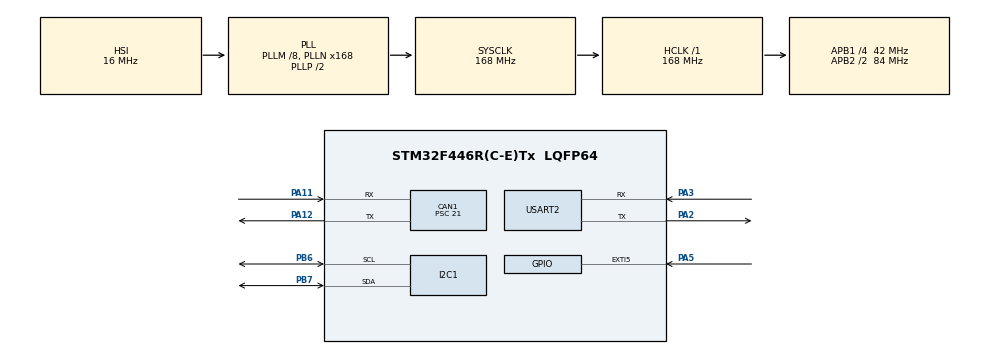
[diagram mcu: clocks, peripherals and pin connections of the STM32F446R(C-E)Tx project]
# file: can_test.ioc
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CAN1.BS1=CAN_BS1_14TQ
CAN1.BS2=CAN_BS2_5TQ
CAN1.CalculateBaudRate=100000
CAN1.CalculateTimeBit=10000
CAN1.CalculateTimeQuantum=500.0
CAN1.Prescaler=21
Dma.I2C1_RX.0.Direction=DMA_PERIPH_TO_MEMORY
Dma.I2C1_RX.0.FIFOMode=DMA_FIFOMODE_DISABLE
Dma.I2C1_RX.0.Instance=DMA1_Stream0
Dma.I2C1_RX.0.MemDataAlignment=DMA_MDATAALIGN_BYTE
Dma.I2C1_RX.0.MemInc=DMA_MINC_ENABLE
Dma.I2C1_RX.0.Mode=DMA_NORMAL
Dma.I2C1_RX.0.PeriphDataAlignment=DMA_PDATAALIGN_BYTE
Dma.I2C1_RX.0.PeriphInc=DMA_PINC_DISABLE
Dma.I2C1_RX.0.Priority=DMA_PRIORITY_LOW
Dma.I2C1_TX.1.Direction=DMA_MEMORY_TO_PERIPH
Dma.I2C1_TX.1.FIFOMode=DMA_FIFOMODE_DISABLE
Dma.I2C1_TX.1.Instance=DMA1_Stream6
Dma.I2C1_TX.1.MemDataAlignment=DMA_MDATAALIGN_BYTE
Dma.I2C1_TX.1.MemInc=DMA_MINC_ENABLE
Dma.I2C1_TX.1.Mode=DMA_NORMAL
Dma.I2C1_TX.1.PeriphDataAlignment=DMA_PDATAALIGN_BYTE
Dma.I2C1_TX.1.PeriphInc=DMA_PINC_DISABLE
Dma.I2C1_TX.1.Priority=DMA_PRIORITY_LOW
Dma.Request0=I2C1_RX
Dma.Request1=I2C1_TX
I2C1.I2C_Mode=I2C_Fast
Mcu.Family=STM32F4
Mcu.Name=STM32F446R(C-E)Tx
Mcu.Package=LQFP64
NVIC.CAN1_RX0_IRQn=true\:0\:0\:false\:false\:true\:true\:true\:true
NVIC.CAN1_TX_IRQn=true\:0\:0\:false\:false\:true\:true\:true\:true
NVIC.DMA1_Stream0_IRQn=true\:0\:0\:false\:false\:true\:false\:true\:true
NVIC.DMA1_Stream6_IRQn=true\:0\:0\:false\:false\:true\:false\:true\:true
NVIC.EXTI9_5_IRQn=true\:0\:0\:false\:false\:true\:true\:true\:true
NVIC.I2C1_ER_IRQn=true\:0\:0\:false\:false\:true\:true\:true\:true
NVIC.I2C1_EV_IRQn=true\:0\:0\:false\:false\:true\:true\:true\:true
NVIC.PriorityGroup=NVIC_PRIORITYGROUP_4
PA11.Mode=CAN_Activate
PA11.Signal=CAN1_RX
PA12.Mode=CAN_Activate
PA12.Signal=CAN1_TX
PA2.Mode=Asynchronous
PA2.Signal=USART2_TX
PA3.Mode=Asynchronous
PA3.Signal=USART2_RX
PA5.Signal=GPXTI5
PB6.Mode=I2C
PB6.Signal=I2C1_SCL
PB7.Mode=I2C
PB7.Signal=I2C1_SDA
PH0-OSC_IN.Mode=HSE-External-Oscillator
PH0-OSC_IN.Signal=RCC_OSC_IN
PH1-OSC_OUT.Mode=HSE-External-Oscillator
PH1-OSC_OUT.Signal=RCC_OSC_OUT
ProjectManager.HeapSize=0x200
ProjectManager.StackSize=0x400
ProjectManager.TargetToolchain=STM32CubeIDE
RCC.AHBFreq_Value=168000000
RCC.APB1CLKDivider=RCC_HCLK_DIV4
RCC.APB1Freq_Value=42000000
RCC.APB1TimFreq_Value=84000000
RCC.APB2CLKDivider=RCC_HCLK_DIV2
RCC.APB2Freq_Value=84000000
RCC.APB2TimFreq_Value=168000000
RCC.CortexFreq_Value=168000000
RCC.HCLKFreq_Value=168000000
RCC.HSE_VALUE=8000000
RCC.PLLM=8
RCC.PLLN=168
RCC.SYSCLKFreq_VALUE=168000000
RCC.SYSCLKSource=RCC_SYSCLKSOURCE_PLLCLK
RCC.USBFreq_Value=168000000
RCC.VCOOutputFreq_Value=336000000
USART2.VirtualMode=VM_ASYNC
board=custom

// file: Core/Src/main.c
/* USER CODE BEGIN Header */
/**
  ******************************************************************************
  * @file           : main.c
  * @brief          : Main program body
  ******************************************************************************
  * @attention
  *
  * Copyright (c) 2022 STMicroelectronics.
  * All rights reserved.
  *
  * This software is licensed under terms that can be found in the LICENSE file
  * in the root directory of this software component.
  * If no LICENSE file comes with this software, it is provided AS-IS.
  *
  ******************************************************************************
  */
/* USER CODE END Header */
#include "main.h"

/* USER CODE BEGIN Includes */
#include "VL53L1X_api.h"
/* USER CODE END Includes */

CAN_HandleTypeDef hcan1;

I2C_HandleTypeDef hi2c1;
DMA_HandleTypeDef hdma_i2c1_rx;
DMA_HandleTypeDef hdma_i2c1_tx;

UART_HandleTypeDef huart2;

/* USER CODE BEGIN PV */
CAN_TxHeaderTypeDef   TxHeader;
CAN_RxHeaderTypeDef   RxHeader;
uint8_t               TxData[8];
uint8_t               RxData[8];
uint32_t              TxMailbox;
CAN_FilterTypeDef     sFilterConfig;

uint16_t dev = 0x52;
uint16_t dis = 0;
/* USER CODE END PV */

void SystemClock_Config(void);
static void MX_GPIO_Init(void);
static void MX_DMA_Init(void);
static void MX_CAN1_Init(void);
static void MX_I2C1_Init(void);
static void MX_USART2_UART_Init(void);
/* USER CODE BEGIN PFP */
void CanSendMssg(uint8_t len, uint8_t data[len]);
void CanRecvMssg(void);
void HAL_CAN_RxFifo1MsgPendingCallback(CAN_HandleTypeDef *hcan);
/* USER CODE END PFP */

int main(void)
{

  /* MCU Configuration--------------------------------------------------------*/

  /* Reset of all peripherals, Initializes the Flash interface and the Systick. */
  HAL_Init();

  /* Configure the system clock */
  SystemClock_Config();

  /* Initialize all configured peripherals */
  MX_GPIO_Init();
  MX_DMA_Init();
  MX_CAN1_Init();
  MX_I2C1_Init();
  MX_USART2_UART_Init();
  /* USER CODE BEGIN 2 */
  uint8_t sensorState = 0;
  uint8_t boot[6] = {66, 79, 79, 84, 10, 0};
  while(sensorState==0){
		VL53L1X_BootState(dev, &sensorState);
		HAL_UART_Transmit(&huart2, boot, 6, 10);
		HAL_Delay(2);
  }

  VL53L1X_SensorInit(dev);
  VL53L1X_StartRanging(dev);
  /* USER CODE END 2 */

  /* Infinite loop */
  /* USER CODE BEGIN WHILE */
  uint8_t dataReady = 0;
  while (1)
  {
	  while (dataReady == 0){
		  VL53L1X_CheckForDataReady(dev, &dataReady);
		  HAL_Delay(2);
	  }
	  VL53L1X_GetDistance(dev, &dis);
	  VL53L1X_ClearInterrupt(dev);
	  dataReady = 0;

	  uint8_t data[2] = {dis & 0xFF, (dis & 0xFF00) >> 8};
	  CanSendMssg(2, data);
    /* USER CODE END WHILE */

  }
}

void SystemClock_Config(void)
{
  RCC_OscInitTypeDef RCC_OscInitStruct = {0};
  RCC_ClkInitTypeDef RCC_ClkInitStruct = {0};

  /** Configure the main internal regulator output voltage
  */
  __HAL_RCC_PWR_CLK_ENABLE();
  __HAL_PWR_VOLTAGESCALING_CONFIG(PWR_REGULATOR_VOLTAGE_SCALE1);

  /** Initializes the RCC Oscillators according to the specified parameters
  * in the RCC_OscInitTypeDef structure.
  */
  RCC_OscInitStruct.OscillatorType = RCC_OSCILLATORTYPE_HSI;
  RCC_OscInitStruct.HSIState = RCC_HSI_ON;
  RCC_OscInitStruct.HSICalibrationValue = RCC_HSICALIBRATION_DEFAULT;
  RCC_OscInitStruct.PLL.PLLState = RCC_PLL_ON;
  RCC_OscInitStruct.PLL.PLLSource = RCC_PLLSOURCE_HSI;
  RCC_OscInitStruct.PLL.PLLM = 8;
  RCC_OscInitStruct.PLL.PLLN = 168;
  RCC_OscInitStruct.PLL.PLLP = RCC_PLLP_DIV2;
  RCC_OscInitStruct.PLL.PLLQ = 2;
  RCC_OscInitStruct.PLL.PLLR = 2;
  if (HAL_RCC_OscConfig(&RCC_OscInitStruct) != HAL_OK)
  {
    Error_Handler();
  }

  /** Initializes the CPU, AHB and APB buses clocks
  */
  RCC_ClkInitStruct.ClockType = RCC_CLOCKTYPE_HCLK|RCC_CLOCKTYPE_SYSCLK
                              |RCC_CLOCKTYPE_PCLK1|RCC_CLOCKTYPE_PCLK2;
  RCC_ClkInitStruct.SYSCLKSource = RCC_SYSCLKSOURCE_PLLCLK;
  RCC_ClkInitStruct.AHBCLKDivider = RCC_SYSCLK_DIV1;
  RCC_ClkInitStruct.APB1CLKDivider = RCC_HCLK_DIV4;
  RCC_ClkInitStruct.APB2CLKDivider = RCC_HCLK_DIV2;

  if (HAL_RCC_ClockConfig(&RCC_ClkInitStruct, FLASH_LATENCY_5) != HAL_OK)
  {
    Error_Handler();
  }
}

static void MX_CAN1_Init(void)
{

  hcan1.Instance = CAN1;
  hcan1.Init.Prescaler = 21;
  hcan1.Init.Mode = CAN_MODE_NORMAL;
  hcan1.Init.SyncJumpWidth = CAN_SJW_1TQ;
  hcan1.Init.TimeSeg1 = CAN_BS1_14TQ;
  hcan1.Init.TimeSeg2 = CAN_BS2_5TQ;
  hcan1.Init.TimeTriggeredMode = DISABLE;
  hcan1.Init.AutoBusOff = DISABLE;
  hcan1.Init.AutoWakeUp = DISABLE;
  hcan1.Init.AutoRetransmission = DISABLE;
  hcan1.Init.ReceiveFifoLocked = DISABLE;
  hcan1.Init.TransmitFifoPriority = DISABLE;
  if (HAL_CAN_Init(&hcan1) != HAL_OK)
  {
    Error_Handler();
  }
  /* USER CODE BEGIN CAN1_Init 2 */
  sFilterConfig.FilterBank = 0;
  sFilterConfig.FilterMode = CAN_FILTERMODE_IDMASK;
  sFilterConfig.FilterScale = CAN_FILTERSCALE_32BIT;
  sFilterConfig.FilterIdHigh = 0x0000;
  sFilterConfig.FilterIdLow = 0x0000;
  sFilterConfig.FilterMaskIdHigh = 0x0000;
  sFilterConfig.FilterMaskIdLow = 0x0000;
  sFilterConfig.FilterFIFOAssignment = CAN_RX_FIFO0;
  sFilterConfig.FilterActivation = ENABLE;
  sFilterConfig.SlaveStartFilterBank = 14;

  if(HAL_CAN_ConfigFilter(&hcan1, &sFilterConfig) != HAL_OK)
  {
    /* Filter configuration Error */
    Error_Handler();
  }

  if (HAL_CAN_Start(&hcan1) != HAL_OK)
  {
    /* Start Error */
    Error_Handler();
  }

  if (HAL_CAN_ActivateNotification(&hcan1, CAN_IT_RX_FIFO0_MSG_PENDING) != HAL_OK)
  {
    /* Notification Error */
    Error_Handler();
  }
  /* USER CODE END CAN1_Init 2 */

}

static void MX_I2C1_Init(void)
{

  hi2c1.Instance = I2C1;
  hi2c1.Init.ClockSpeed = 400000;
  hi2c1.Init.DutyCycle = I2C_DUTYCYCLE_2;
  hi2c1.Init.OwnAddress1 = 0;
  hi2c1.Init.AddressingMode = I2C_ADDRESSINGMODE_7BIT;
  hi2c1.Init.DualAddressMode = I2C_DUALADDRESS_DISABLE;
  hi2c1.Init.OwnAddress2 = 0;
  hi2c1.Init.GeneralCallMode = I2C_GENERALCALL_DISABLE;
  hi2c1.Init.NoStretchMode = I2C_NOSTRETCH_DISABLE;
  if (HAL_I2C_Init(&hi2c1) != HAL_OK)
  {
    Error_Handler();
  }

}

static void MX_USART2_UART_Init(void)
{

  huart2.Instance = USART2;
  huart2.Init.BaudRate = 115200;
  huart2.Init.WordLength = UART_WORDLENGTH_8B;
  huart2.Init.StopBits = UART_STOPBITS_1;
  huart2.Init.Parity = UART_PARITY_NONE;
  huart2.Init.Mode = UART_MODE_TX_RX;
  huart2.Init.HwFlowCtl = UART_HWCONTROL_NONE;
  huart2.Init.OverSampling = UART_OVERSAMPLING_16;
  if (HAL_UART_Init(&huart2) != HAL_OK)
  {
    Error_Handler();
  }

}

static void MX_DMA_Init(void)
{

  /* DMA controller clock enable */
  __HAL_RCC_DMA1_CLK_ENABLE();

  /* DMA interrupt init */
  /* DMA1_Stream0_IRQn interrupt configuration */
  HAL_NVIC_SetPriority(DMA1_Stream0_IRQn, 0, 0);
  HAL_NVIC_EnableIRQ(DMA1_Stream0_IRQn);
  /* DMA1_Stream6_IRQn interrupt configuration */
  HAL_NVIC_SetPriority(DMA1_Stream6_IRQn, 0, 0);
  HAL_NVIC_EnableIRQ(DMA1_Stream6_IRQn);

}

static void MX_GPIO_Init(void)
{
  GPIO_InitTypeDef GPIO_InitStruct = {0};

  /* GPIO Ports Clock Enable */
  __HAL_RCC_GPIOH_CLK_ENABLE();
  __HAL_RCC_GPIOA_CLK_ENABLE();
  __HAL_RCC_GPIOB_CLK_ENABLE();

  /*Configure GPIO pin : PA5 */
  GPIO_InitStruct.Pin = GPIO_PIN_5;
  GPIO_InitStruct.Mode = GPIO_MODE_IT_RISING;
  GPIO_InitStruct.Pull = GPIO_NOPULL;
  HAL_GPIO_Init(GPIOA, &GPIO_InitStruct);

  /* EXTI interrupt init*/
  HAL_NVIC_SetPriority(EXTI9_5_IRQn, 0, 0);
  HAL_NVIC_EnableIRQ(EXTI9_5_IRQn);

}

/* USER CODE BEGIN 4 */
void CanSendMssg(uint8_t len, uint8_t data[len]) {
	  TxHeader.StdId = 0x17;
	  TxHeader.RTR = CAN_RTR_DATA;
	  TxHeader.IDE = CAN_ID_STD;
	  TxHeader.DLC = 2;
	  TxHeader.TransmitGlobalTime = DISABLE;
	  TxData[0] = 0xCA;
	  TxData[1] = 0xFE;

	  uint8_t trysend[10] = {84, 82, 89, 83, 69, 78, 68, 13, 10, 0};
	  //HAL_UART_Transmit(&huart2, trysend, 10, 10);

	  uint8_t txbox[7] = {84, 88, 66, 88, 13, 10, 0};
	  if(HAL_CAN_GetTxMailboxesFreeLevel(&hcan1) == 0) {
		  //HAL_UART_Transmit(&huart2, txbox, 7, 10);
		  return;
	  }

	  uint8_t sendfail[11] = {83, 69, 78, 68, 70, 65, 73, 76, 13, 10, 0};
	  if(HAL_CAN_AddTxMessage(&hcan1, &TxHeader, TxData, &TxMailbox) != HAL_OK)
	  {
	    /* Transmission request Error */
		//HAL_UART_Transmit(&huart2, sendfail, 11, 10);
	  }

	  uint8_t pend[7] = {80, 69, 78, 68, 13, 10, 0};
	  while(HAL_CAN_GetTxMailboxesFreeLevel(&hcan1) != 3) {
	  		  //HAL_UART_Transmit(&huart2, pend, 7, 10);
	  }

	  //return HAL_OK; /* Test Passed */
}

void CanRecvMssg(void) {
	uint8_t aa[7] = {70, 70, 70, 70, 13, 10, 0};
	if(HAL_CAN_GetRxFifoFillLevel(&hcan1, CAN_RX_FIFO0) == 0)
	{
		//HAL_UART_Transmit(&huart2, aa, 7, 10);
	}

	uint8_t recvfail[11] = {82, 69, 67, 86, 70, 65, 73, 76, 13, 10, 0};
	if(HAL_CAN_GetRxMessage(&hcan1, CAN_RX_FIFO0, &RxHeader, RxData) != HAL_OK)
	{
	    /* Reception Error */
		//HAL_UART_Transmit(&huart2, recvfail, 11, 10);
	}

	if((RxHeader.StdId != 0x11)                     ||
	   (RxHeader.RTR != CAN_RTR_DATA)               ||
	   (RxHeader.IDE != CAN_ID_STD)                 ||
	   (RxHeader.DLC != 2))
	{
	    /* Rx message Error */
		//return HAL_ERROR;
	}

	//HAL_UART_Transmit(&huart2, RxData, 8, 10);

	//return HAL_OK; /* Test Passed */
}

void HAL_CAN_RxFifo1MsgPendingCallback(CAN_HandleTypeDef *hcan)
{
	uint8_t gotit[8] = {71, 79, 84, 73, 84, 13, 10, 0};
	//HAL_UART_Transmit(&huart2, gotit, 8, 10);
	CanRecvMssg();
//	CanSendMssg(8, hello);
}
/* USER CODE END 4 */

void Error_Handler(void)
{
  __disable_irq();
  while (1)
  {
  }
}
